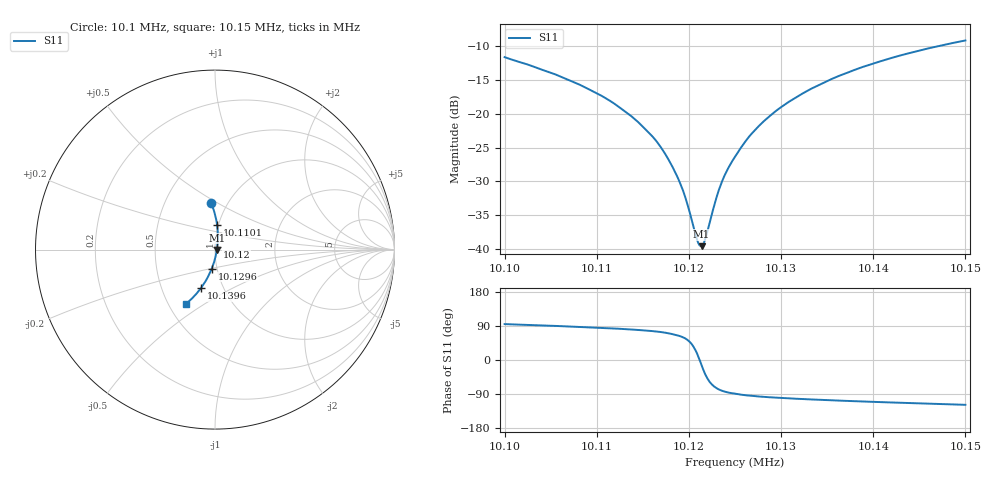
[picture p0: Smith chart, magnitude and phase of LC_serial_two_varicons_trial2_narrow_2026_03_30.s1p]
# HZ S RI R 50
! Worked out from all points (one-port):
!   401 points, 10.1 MHz to 10.15 MHz, reference 50 ohm
!   lowest |S11| = -39.5 dB at 10.1214 MHz (marker M1), VSWR 1.02, Z = 51 - j0.259 ohm
!   |S11| at or under -10 dB: start of sweep to 10.14728 MHz
!   S11 on the Smith chart (normalised r, x): 10.1 MHz: 0.84, +0.47; 10.1101 MHz: 0.98, +0.28; 10.12 MHz: 1.03, +0.03; 10.1296 MHz: 0.94, -0.20; 10.1396 MHz: 0.78, -0.36; 10.15 MHz: 0.61, -0.42
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1.01e7  -0.0215 0.2594
1.010625e7  0.00263 0.1848
1.011012e7  0.0115 0.1391
1.01125e7  0.0147 0.1096
1.011438e7  0.0161 0.0865
1.011625e7  0.0161 0.0634
1.01175e7  0.0155 0.047
1.011875e7  0.0144 0.031
1.011938e7  0.0136 0.0232
1.012e7  0.0127 0.015
1.012088e7  0.0113 0.00356
1.012112e7  0.0108 0.000468
1.012138e7  0.0103 -0.00254
1.012162e7  0.00971 -0.0055
1.012188e7  0.00922 -0.00854
1.012288e7  0.00691 -0.0216
1.01235e7  0.0051 -0.03
1.012412e7  0.00332 -0.0379
1.0125e7  0.000824 -0.0482
1.012688e7  -0.00598 -0.0717
1.012812e7  -0.0112 -0.0871
1.012962e7  -0.0179 -0.1053
1.013125e7  -0.0259 -0.1241
1.01335e7  -0.0384 -0.1502
1.01375e7  -0.0638 -0.1936
1.013962e7  -0.0787 -0.2149
1.014375e7  -0.1105 -0.2538
1.015e7  -0.1635 -0.3042
